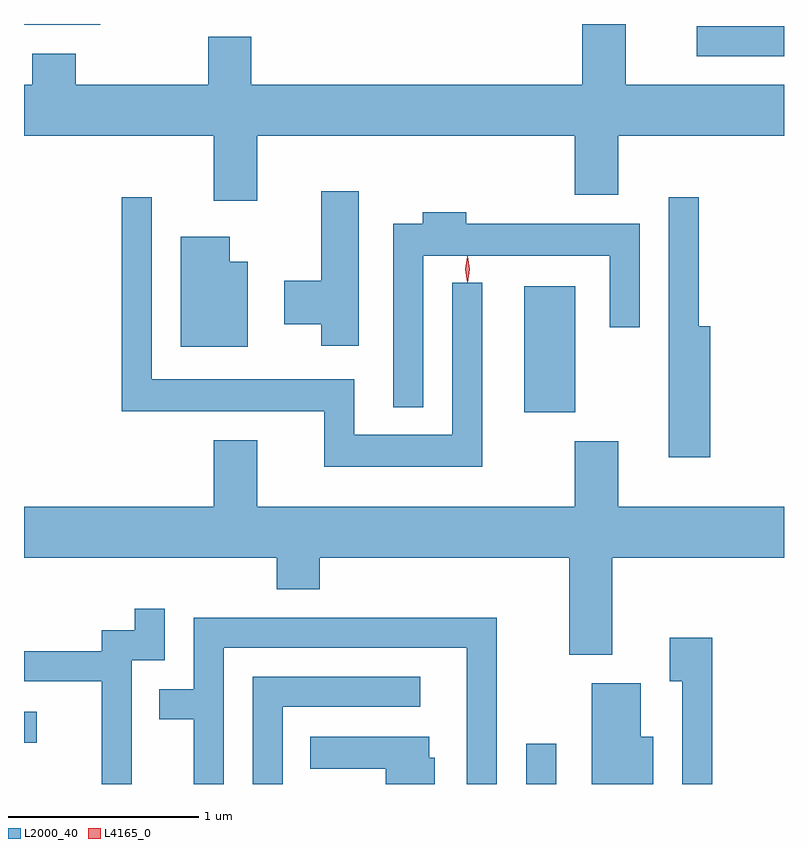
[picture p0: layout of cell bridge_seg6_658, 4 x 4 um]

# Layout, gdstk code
import gdstk
lib = gdstk.Library(unit=1e-6, precision=1e-09)
def R(c, l, rs):  # rectangles x0, y0, x1, y1
    for r in rs: c.add(gdstk.rectangle(r[:2], r[2:], *l))
def P(c, l, *ps):  # polygons
    for p in ps: c.add(gdstk.Polygon(p, *l))
L2000_40 = (2000, 40)
L4165_0 = (4165, 0)

bridge_seg6_658 = lib.new_cell('bridge_seg6_658')
R(bridge_seg6_658, L2000_40, [(310.356,1584.365,310.514,1584.578), (307.712,1584.581,307.778,1584.744), (310.346,1586.321,310.614,1586.984), (311.253,1588.196,311.712,1588.354), (307.712,1588.361,308.114,1588.365)])
P(bridge_seg6_658, L2000_40, [(308.939,1587.776),(310.611,1587.776),(310.611,1587.466),(310.839,1587.466),(310.839,1587.776),(311.712,1587.776),(311.712,1588.044),(310.879,1588.044),(310.879,1588.365),(310.651,1588.365),(310.651,1588.044),(308.909,1588.044),(308.909,1588.299),(308.681,1588.299),(308.681,1588.044),(307.984,1588.044),(307.984,1588.209),(307.756,1588.209),(307.756,1588.044),(307.712,1588.044),(307.712,1587.776),(308.711,1587.776),(308.711,1587.436),(308.939,1587.436)],
  [(309.474,1587.484),(309.276,1587.484),(309.276,1587.014),(309.081,1587.014),(309.081,1586.786),(309.276,1586.786),(309.276,1586.671),(309.474,1586.671)],
  [(310.124,1587.003),(309.966,1587.003),(309.966,1586.204),(309.449,1586.204),(309.449,1586.494),(308.384,1586.494),(308.384,1587.453),(308.226,1587.453),(308.226,1586.326),(309.291,1586.326),(309.291,1586.036),(310.124,1586.036)],
  [(311.324,1586.774),(311.264,1586.774),(311.264,1587.453),(311.106,1587.453),(311.106,1586.086),(311.324,1586.086)],
  [(309.814,1587.146),(310.796,1587.146),(310.796,1586.768),(310.954,1586.768),(310.954,1587.314),(310.039,1587.314),(310.039,1587.374),(309.811,1587.374),(309.811,1587.314),(309.656,1587.314),(309.656,1586.348),(309.814,1586.348)],
  [(308.889,1587.114),(308.794,1587.114),(308.794,1587.244),(308.536,1587.244),(308.536,1586.666),(308.889,1586.666)],
  [(310.809,1585.556),(311.712,1585.556),(311.712,1585.824),(310.839,1585.824),(310.839,1586.169),(310.611,1586.169),(310.611,1585.824),(308.939,1585.824),(308.939,1586.174),(308.711,1586.174),(308.711,1585.824),(307.712,1585.824),(307.712,1585.556),(309.041,1585.556),(309.041,1585.391),(309.269,1585.391),(309.269,1585.556),(310.581,1585.556),(310.581,1585.046),(310.809,1585.046)],
  [(308.279,1585.016),(308.454,1585.016),(308.454,1585.288),(308.296,1585.288),(308.296,1585.174),(308.121,1585.174),(308.121,1585.064),(307.712,1585.064),(307.712,1584.906),(308.121,1584.906),(308.121,1584.365),(308.279,1584.365)],
  [(308.764,1585.081),(310.041,1585.081),(310.041,1584.365),(310.199,1584.365),(310.199,1585.239),(308.606,1585.239),(308.606,1584.864),(308.423,1584.864),(308.423,1584.706),(308.606,1584.706),(308.606,1584.365),(308.764,1584.365)],
  [(311.334,1585.134),(311.111,1585.134),(311.111,1584.906),(311.176,1584.906),(311.176,1584.365),(311.334,1584.365)],
  [(309.074,1584.771),(309.798,1584.771),(309.798,1584.929),(308.916,1584.929),(308.916,1584.365),(309.074,1584.365)],
  [(311.024,1584.614),(310.959,1584.614),(310.959,1584.894),(310.701,1584.894),(310.701,1584.365),(311.024,1584.365)],
  [(309.874,1584.504),(309.844,1584.504),(309.844,1584.614),(309.218,1584.614),(309.218,1584.446),(309.616,1584.446),(309.616,1584.365),(309.874,1584.365)])
P(bridge_seg6_658, L4165_0, [(310.047,1587.003),(310.046,1587.004),(310.037,1587.073),(310.046,1587.142),(310.047,1587.143),(310.048,1587.142),(310.057,1587.073),(310.048,1587.004)],
  [(310.044,1587.007),(310.035,1587.074),(310.044,1587.14),(310.045,1587.141),(310.045,1587.14),(310.055,1587.074),(310.045,1587.007),(310.045,1587.007)])

lib.write_gds('bridge_seg6_658.gds')
